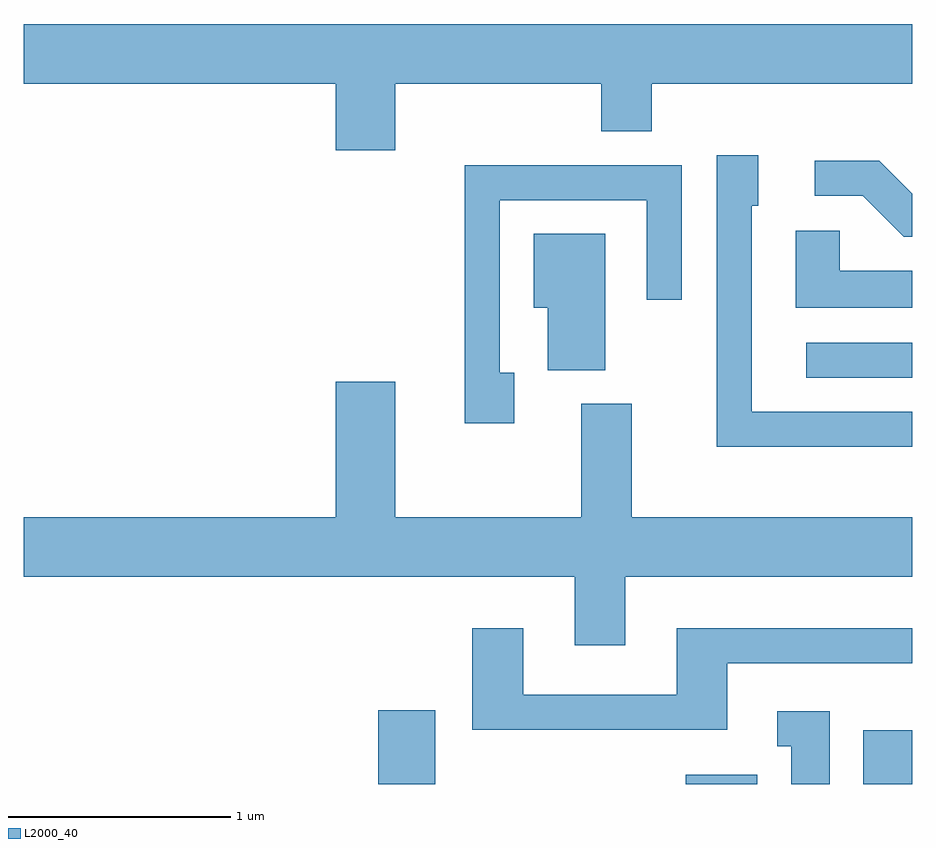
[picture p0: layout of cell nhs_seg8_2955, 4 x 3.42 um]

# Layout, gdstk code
import gdstk
lib = gdstk.Library(unit=1e-6, precision=1e-09)
def R(c, l, rs):  # rectangles x0, y0, x1, y1
    for r in rs: c.add(gdstk.rectangle(r[:2], r[2:], *l))
def P(c, l, *ps):  # polygons
    for p in ps: c.add(gdstk.Polygon(p, *l))
L2000_40 = (2000, 40)

nhs_seg8_2955 = lib.new_cell('nhs_seg8_2955')
R(nhs_seg8_2955, L2000_40, [(275.206,1864.342,275.464,1864.674), (276.591,1864.342,276.914,1864.384), (277.391,1864.342,277.611,1864.584), (277.133,1866.171,277.611,1866.329)])
P(nhs_seg8_2955, L2000_40, [(275.284,1867.496),(276.211,1867.496),(276.211,1867.281),(276.439,1867.281),(276.439,1867.496),(277.611,1867.496),(277.611,1867.764),(273.611,1867.764),(273.611,1867.496),(275.016,1867.496),(275.016,1867.196),(275.284,1867.196)],
  [(277.611,1866.019),(276.889,1866.019),(276.889,1866.946),(276.919,1866.946),(276.919,1867.174),(276.731,1867.174),(276.731,1865.861),(277.611,1865.861)],
  [(277.611,1867),(277.462,1867.149),(277.173,1867.149),(277.173,1866.991),(277.389,1866.991),(277.574,1866.806),(277.611,1866.806)],
  [(275.819,1866.194),(275.754,1866.194),(275.754,1866.971),(276.416,1866.971),(276.416,1866.523),(276.574,1866.523),(276.574,1867.129),(275.596,1867.129),(275.596,1865.966),(275.819,1865.966)],
  [(277.611,1866.654),(277.284,1866.654),(277.284,1866.834),(277.086,1866.834),(277.086,1866.486),(277.611,1866.486)],
  [(276.229,1866.819),(275.906,1866.819),(275.906,1866.486),(275.971,1866.486),(275.971,1866.206),(276.229,1866.206)],
  [(276.319,1865.276),(277.611,1865.276),(277.611,1865.544),(276.349,1865.544),(276.349,1866.054),(276.121,1866.054),(276.121,1865.544),(275.284,1865.544),(275.284,1866.154),(275.016,1866.154),(275.016,1865.544),(273.611,1865.544),(273.611,1865.276),(276.091,1865.276),(276.091,1864.966),(276.319,1864.966)],
  [(276.779,1864.886),(277.611,1864.886),(277.611,1865.044),(276.551,1865.044),(276.551,1864.744),(275.859,1864.744),(275.859,1865.044),(275.631,1865.044),(275.631,1864.586),(276.779,1864.586)],
  [(277.239,1864.669),(277.003,1864.669),(277.003,1864.511),(277.066,1864.511),(277.066,1864.342),(277.239,1864.342)])

lib.write_gds('nhs_seg8_2955.gds')
